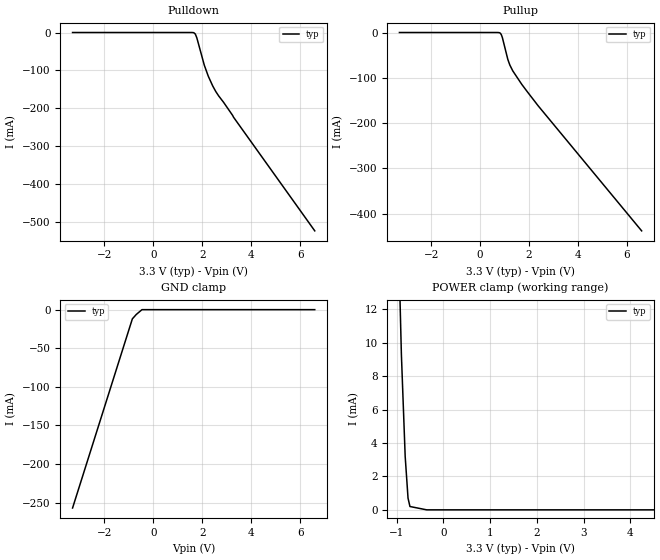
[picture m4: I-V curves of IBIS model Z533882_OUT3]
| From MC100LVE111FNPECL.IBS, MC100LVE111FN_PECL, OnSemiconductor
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| (C) COPYRIGHT 1993-2000
| MENTOR GRAPHICS CORPORATION
| ICX STANDARD LIBRARY, ICX PROJECT MODELING,
| ICX CUSTOM MODELING, ICX VENDOR MODEL
| ALL RIGHTS RESERVED.
| THE FOLLOWING ARE TRADEMARKS OR SERVICE MARKS OF
| MENTOR GRAPHICS CORPORATION:ICX (R), ICX STANDARD
| LIBRARY(R), ICX PROJECT MODELING(R), ICX CUSTOM
| MODELING(R), qualityIBIS(TM), MODELVIEWER(TM),
| AND MODELEDITOR(TM)
| ALL COPIES OF SOFTWARE, INCLUDING BUT NOT LIMITED TO
| ANY MODIFICATIONS, ENHANCEMENTS OR DERIVATIVE WORKS,
| MUST CONTAIN ALL MENTOR GRAPHICS CORPORATION'S
| NOTICES AND LEGENDS, INCLUDING THOSE EMBEDDED IN
| SOFTWARE AND THOSE AFFIXED TO SOFTWARE MEDIUM
| AND CONTAINER, AS RECEIVED FROM MENTOR GRAPHICS
| CORPORATION.
| Model Application Version 1.89 2/18/99.
[Model] Z533882_OUT3
Model_type Output_ECL
Vref=1.300V
Rref=50.00ohms
Cref=0.000F
Vmeas=2.207V
C_comp 8.000pF NA NA
| variable typ   min   max
[Voltage Range] 3.300V NA NA
[POWER Clamp Reference] 3.300V NA NA
[Pullup Reference] 3.300V NA NA
[Pulldown Reference] 3.300V NA NA
[GND Clamp Reference] 0.000V NA NA
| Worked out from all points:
|   GND clamp passes 1 mA (typ) near -0.50 V on its own axis
|   POWER clamp passes 1 mA (typ) near -0.76 V on its own axis
[GND Clamp]
-3.3V     -257mA     NA         NA
-856mV    -11.93mA   NA         NA
-694mV    -6.191mA   NA         NA
-462.7mV  0A         NA         NA
6.6V      0A         NA         NA
[Pulldown]
-3.3V     0A         NA         NA
1.658V    -700uA     NA         NA
1.719V    -4.2mA     NA         NA
1.78V     -14.2mA    NA         NA
2.084V    -86.2mA    NA         NA
2.246V    -115.3mA   NA         NA
2.429V    -141.3mA   NA         NA
2.551V    -155.7mA   NA         NA
3.281V    -224mA     NA         NA
6.6V      -524.3mA   NA         NA
[Pullup]
-3.3V     0A         NA         NA
704mV     0A         NA         NA
826mV     -1.6mA     NA         NA
907mV     -11.1mA    NA         NA
1.13V     -59.3mA    NA         NA
1.211V    -71.6mA    NA         NA
1.333V    -84.7mA    NA         NA
1.699V    -114.3mA   NA         NA
2.368V    -161.6mA   NA         NA
6.6V      -437.7mA   NA         NA
[POWER Clamp]
-3.3V     273mA      NA         NA
-899mV    9.3mA      NA         NA
-818mV    3.2mA      NA         NA
-757mV    700uA      NA         NA
-716mV    200uA      NA         NA
-358mV    0A         NA         NA
6.6V      0A         NA         NA
[Ramp]
| variable typ min max
dV/dt_r 507.1m/259.6p NA NA
dV/dt_f 507.1m/183.6p NA NA
R_load = 500.0Ohms
